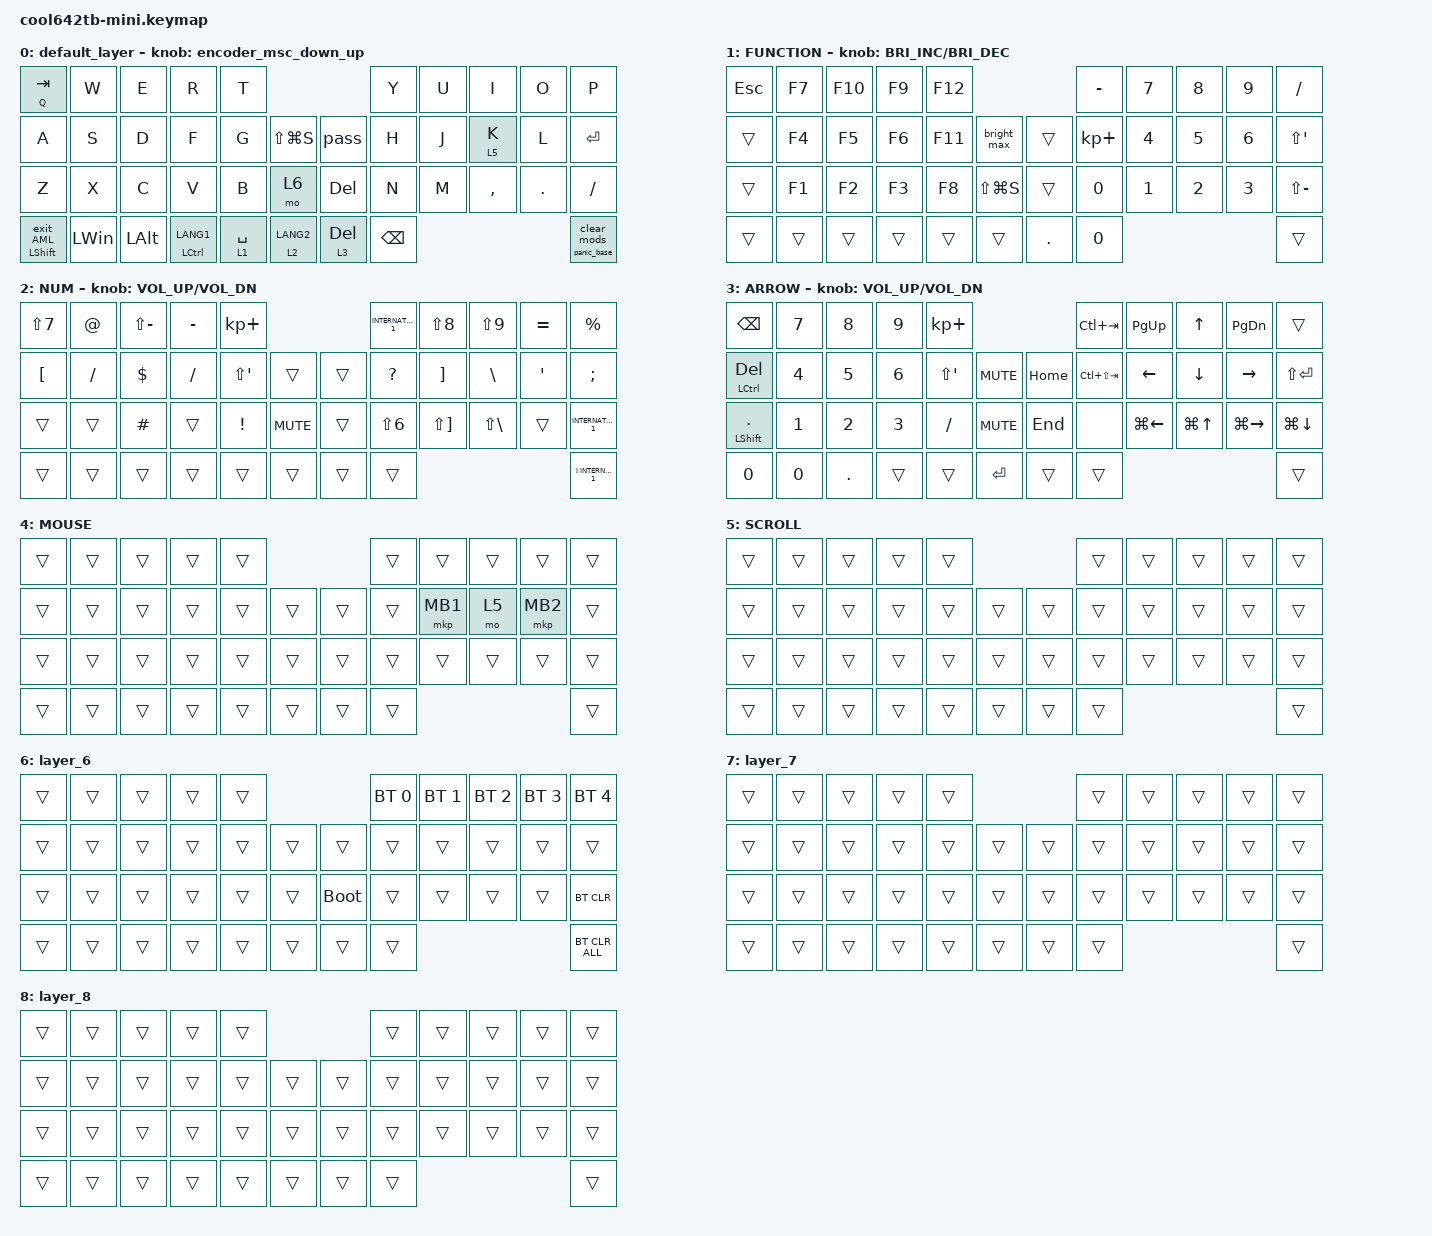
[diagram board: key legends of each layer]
#define AML 4
#define SCROLL 5
#define ZMK_POINTING_DEFAULT_SCRL_VAL 80

#include <input/processors.dtsi>
#include <behaviors.dtsi>
#include <dt-bindings/zmk/bt.h>
#include <dt-bindings/zmk/keys.h>
#include <dt-bindings/zmk/pointing.h>

&mt {
    flavor = "balanced";
    quick-tap-ms = <0>;
};

/ {
    combos {
        compatible = "zmk,combos";

        tab {
            bindings = <&kp TAB>;
            key-positions = <11 12>;
        };

        shift_tab {
            bindings = <&kp LS(TAB)>;
            key-positions = <10 11 12>;
        };

        tab2 {
            bindings = <&kp TAB>;
            key-positions = <11 10>;
        };

        double_quotation {
            bindings = <&kp DOUBLE_QUOTES>;
            key-positions = <20 21>;
        };

        eq {
            bindings = <&kp EQUAL>;
            key-positions = <24 25>;
        };

        k- {
            bindings = <&kp MINUS>;
            key-positions = <18 19>;
        };

        ques {
            bindings = <&kp QUESTION>;
            key-positions = <19 20>;
        };

        exclamation {
            bindings = <&kp EXCLAMATION>;
            key-positions = <31 32>;
        };

        atmark {
            bindings = <&kp LBKT>;
            key-positions = <8 9>;
        };

        esc {
            bindings = <&kp ESC>;
            key-positions = <0 1>;
        };

        kakko {
            bindings = <&kakko>;
            key-positions = <6 7>;
        };

        alt4 {
            bindings = <&kp LA(F4)>;
            key-positions = <0 1 2>;
        };

        return {
            bindings = <&kp LA(LEFT)>;
            key-positions = <18 19 20>;
        };

        ahead {
            bindings = <&kp LA(RIGHT)>;
            key-positions = <19 20 21>;
        };

        under_score {
            bindings = <&kp LS(INTERNATIONAL_1)>;
            key-positions = <33 32>;
        };

        esc_right {
            bindings = <&kp ESC>;
            key-positions = <18 19 20 21>;
        };

        sftz {
            bindings = <&kp LS(Z)>;
            key-positions = <22 23>;
        };

        kara {
            bindings = <&kp RS(EQUAL)>;
            key-positions = <8 7>;
        };

        shift-tab2 {
            bindings = <&kp LS(TAB)>;
            key-positions = <11 13 12>;
        };
    };

    macros {
        to_layer_0: to_layer_0 {
            compatible = "zmk,behavior-macro-one-param";
            #binding-cells = <1>;
            bindings = <&to 0 &macro_param_1to1 &kp MACRO_PLACEHOLDER>;
            label = "TO_LAYER_0";
        };

        pass: pass {
            compatible = "zmk,behavior-macro";
            #binding-cells = <0>;
            bindings = <&kp LS(M) &kp N1 &kp Q &kp A &kp Z &kp N1 &kp Q &kp A &kp Z>;
            label = "PASS";
        };

        kakko: kakko {
            compatible = "zmk,behavior-macro";
            #binding-cells = <0>;
            bindings = <&kp LS(N8) &kp LS(N9) &kp LEFT_ARROW>;
            label = "KAKKO";
        };

        exit_AML: exit_AML {
            compatible = "zmk,behavior-macro";
            wait-ms = <0>;
            tap-ms = <0>;
            #binding-cells = <0>;
            bindings = <&tog_off AML>;
            label = "EXIT_AML";
        };

        kp_exit_AML: kp_exit_AML {
            compatible = "zmk,behavior-macro-one-param";
            wait-ms = <0>;
            tap-ms = <0>;
            #binding-cells = <1>;
            bindings = <&macro_param_1to1 &kp MACRO_PLACEHOLDER &exit_AML>;
            label = "KP_EXIT_AML";
        };

        clear_mods: clear_mods {
            compatible = "zmk,behavior-macro";
            #binding-cells = <0>;
            wait-ms = <0>;
            tap-ms = <0>;
            bindings = <&kp LCTRL &kp LSHIFT &kp LALT &kp LGUI>;
            label = "CLEAR_MODS";
        };

        panic_base: panic_base {
            compatible = "zmk,behavior-macro";
            #binding-cells = <0>;
            wait-ms = <0>;
            tap-ms = <0>;
            bindings = <&to 0>;
            label = "PANIC_BASE";
        };

        //arrowlayerでのalt+tab実現

        alt_tab_hold: alt_tab_hold {
            compatible = "zmk,behavior-macro";
            #binding-cells = <0>;
            wait-ms = <0>;
            tap-ms = <0>;
            bindings =
                <&macro_press>,
                <&kp LALT>,
                <&macro_tap>,
                <&kp TAB>,
                <&macro_pause_for_release>,
                <&macro_release>,
                <&kp LALT>;

            label = "ALT_TAB_HOLD";
        };

        bright_max: bright_max {
            compatible = "zmk,behavior-macro";
            #binding-cells = <0>;
            wait-ms = <0>;
            tap-ms = <0>;
            bindings = <&kp C_BRIGHTNESS_INC &kp C_BRIGHTNESS_INC &kp C_BRIGHTNESS_INC &kp C_BRIGHTNESS_INC &kp C_BRIGHTNESS_INC &kp C_BRIGHTNESS_INC &kp C_BRIGHTNESS_INC &kp C_BRIGHTNESS_INC &kp C_BRIGHTNESS_INC &kp C_BRIGHTNESS_INC &kp C_BRIGHTNESS_INC &kp C_BRIGHTNESS_INC &kp C_BRIGHTNESS_INC &kp C_BRIGHTNESS_INC &kp C_BRIGHTNESS_INC &kp C_BRIGHTNESS_INC &kp C_BRIGHTNESS_INC &kp C_BRIGHTNESS_INC &kp C_BRIGHTNESS_INC &kp C_BRIGHTNESS_INC &kp C_BRIGHTNESS_INC &kp C_BRIGHTNESS_INC &kp C_BRIGHTNESS_INC &kp C_BRIGHTNESS_INC &kp C_BRIGHTNESS_INC &kp C_BRIGHTNESS_INC &kp C_BRIGHTNESS_INC &kp C_BRIGHTNESS_INC &kp C_BRIGHTNESS_INC &kp C_BRIGHTNESS_INC &kp C_BRIGHTNESS_INC &kp C_BRIGHTNESS_INC &kp C_BRIGHTNESS_INC &kp C_BRIGHTNESS_INC &kp C_BRIGHTNESS_INC &kp C_BRIGHTNESS_INC &kp C_BRIGHTNESS_INC &kp C_BRIGHTNESS_INC &kp C_BRIGHTNESS_INC &kp C_BRIGHTNESS_INC>;
            label = "BRIGHT_MAX";
        };
    };

    behaviors {
        lt_to_layer_0: lt_to_layer_0 {
            compatible = "zmk,behavior-hold-tap";
            label = "LAYER_TAP_TO_0";
            bindings = <&mo>, <&to_layer_0>;

            #binding-cells = <2>;
            tapping-term-ms = <200>;
        };

        encoder_msc_down_up: encoder_msc_down_up {
            compatible = "zmk,behavior-sensor-rotate";
            label = "ENCODER_MSC_DOWN_UP";
            #sensor-binding-cells = <0>;
            bindings = <&msc SCRL_UP>, <&msc SCRL_DOWN>;

            tap-ms = <20>;
        };

        tog_off: toggle_layer_off {
            compatible = "zmk,behavior-toggle-layer";
            #binding-cells = <1>;
            toggle-mode = "off";
        };

        mt_exit_AML_on_tap: mt_exit_AML_on_tap {
            compatible = "zmk,behavior-hold-tap";
            label = "MT_EXIT_AML_ON_TAP";
            bindings = <&kp>, <&kp_exit_AML>;

            #binding-cells = <2>;
            tapping-term-ms = <200>;
            flavor = "balanced";
            quick-tap-ms = <200>;
        };

        clear_on_tap_panic_on_hold: clear_on_tap_panic_on_hold {
            compatible = "zmk,behavior-hold-tap";
            label = "CLR_TAP_PANIC_HOLD";
            #binding-cells = <2>;

            /* 先がホールド、後がタップ */

            bindings = <&panic_base>, <&clear_mods>;

            tapping-term-ms = <200>;
            flavor = "balanced";
            quick-tap-ms = <0>;
        };

        mt_exit_aml_tp170: mt_exit_aml_tp170 {
            compatible = "zmk,behavior-hold-tap";
            label = "MT_EXIT_AML_TP170";
            bindings = <&kp>, <&kp_exit_AML>;

            #binding-cells = <2>;

            // これが重要！

            flavor = "balanced";

            // 判定時間を少し短くして、キビキビ動くようにします

            tapping-term-ms = <200>;

            // 連続でCtrlを使いたい時のための猶予（お好みで150〜200）

            quick-tap-ms = <175>;
        };

        mt_exit_aml_Z: mt_exit_aml_Z {
            compatible = "zmk,behavior-hold-tap";
            label = "MT_EXIT_AML_Z";
            bindings = <&kp>, <&kp_exit_AML>;

            #binding-cells = <2>;
            flavor = "tap-preferred";
            tapping-term-ms = <170>;
            quick-tap-ms = <0>;
        };

        // 新しく作る「Shift専用」の道具

        mt_shift_exit: mt_shift_exit {
            compatible = "zmk,behavior-hold-tap";
            label = "MT_SHIFT_EXIT";

            /* ホールドは引数を取る(&kp)、タップは引数を取らない(&exit_AML) */

            bindings = <&kp>, <&exit_AML>;

            #binding-cells = <2>; // ←ここを必ず「2」にする
            flavor = "tap-preferred";
            tapping-term-ms = <170>;
            quick-tap-ms = <0>;
        };
    };

    keymap {
        compatible = "zmk,keymap";

        default_layer {
            bindings = <
&mt Q TAB                    &kp W         &kp E         &kp R                           &kp T                                      &kp Y          &kp U  &kp I      &kp O    &kp P
&kp A                        &kp S         &kp D         &kp F                           &kp G        &kp LS(LG(S))      &pass      &kp H          &kp J  &lt 5 K    &kp L    &kp ENTER
&kp Z                        &kp X         &kp C         &kp V                           &kp B        &mo 6              &kp DEL    &kp N          &kp M  &kp COMMA  &kp DOT  &kp SLASH
&mt_shift_exit LEFT_SHIFT 0  &kp LEFT_WIN  &kp LEFT_ALT  &mt_exit_aml_tp170 LCTRL LANG1  &lt 1 SPACE  &lt 2 LANG2        &lt 3 DEL  &kp BACKSPACE                             &clear_on_tap_panic_on_hold 0 0
            >;

            sensor-bindings = <&encoder_msc_down_up>;
        };

        FUNCTION {
            bindings = <
&kp ESC  &kp F7  &kp F10  &kp F9  &kp F12                                 &kp MINUS    &kp N7  &kp N8  &kp N9  &kp SLASH
&trans   &kp F4  &kp F5   &kp F6  &kp F11  &bright_max        &trans      &kp KP_PLUS  &kp N4  &kp N5  &kp N6  &kp LS(APOS)
&trans   &kp F1  &kp F2   &kp F3  &kp F8   &kp LS(LG(S))      &trans      &kp N0       &kp N1  &kp N2  &kp N3  &kp LS(MINUS)
&trans   &trans  &trans   &trans  &trans   &trans             &kp PERIOD  &kp N0                               &trans
            >;

            sensor-bindings = <&inc_dec_kp C_BRIGHTNESS_INC C_BRIGHTNESS_DEC>;
        };

        NUM {
            bindings = <
&kp LS(N7)  &kp AT     &kp LS(MINUS)  &kp MINUS  &kp KP_PLUS                          &kp INTERNATIONAL_1  &kp LS(NUMBER_8)  &kp LS(N9)         &kp EQUAL  &kp PERCENT
&kp LBKT    &kp SLASH  &kp DOLLAR     &kp SLASH  &kp LS(SQT)  &trans          &trans  &kp QUESTION         &kp RBKT          &kp BACKSLASH      &kp SQT    &kp SEMICOLON
&trans      &trans     &kp HASH       &trans     &kp EXCL     &kp C_MUTE      &trans  &kp LS(N6)           &kp LS(RBKT)      &kp LS(BACKSLASH)  &trans     &kp INTERNATIONAL_1
&trans      &trans     &trans         &trans     &trans       &trans          &trans  &trans                                                               &kp LS(INTERNATIONAL_1)
            >;

            sensor-bindings = <&inc_dec_kp C_VOL_UP C_VOL_DN>;
        };

        ARROW {
            bindings = <
&kp BACKSPACE            &kp N7        &kp N8        &kp N9        &kp KP_PLUS                            &kp LC(TAB)      &kp PAGE_UP     &kp UP_ARROW      &kp PAGE_DOWN  &trans
&mt LEFT_CONTROL DELETE  &kp NUMBER_4  &kp N5        &kp NUMBER_6  &kp LS(SQT)  &kp C_MUTE      &kp HOME  &kp LC(LS(TAB))  &kp LEFT_ARROW  &kp DOWN_ARROW    &kp RIGHT      &kp LS(ENTER)
&mt LEFT_SHIFT PERIOD    &kp NUMBER_1  &kp NUMBER_2  &kp N3        &kp SLASH    &kp C_MUTE      &kp END   &none            &kp LG(LEFT)    &kp LG(UP_ARROW)  &kp LG(RIGHT)  &kp LG(DOWN_ARROW)
&kp N0                   &kp N0        &kp DOT       &trans        &trans       &kp ENTER       &trans    &trans                                                            &trans
            >;

            sensor-bindings = <&inc_dec_kp C_VOL_UP C_VOL_DN>;
        };

        MOUSE {
            bindings = <
&trans  &trans  &trans  &trans  &trans                      &trans  &trans    &trans  &trans    &trans
&trans  &trans  &trans  &trans  &trans  &trans      &trans  &trans  &mkp MB1  &mo 5   &mkp MB2  &trans
&trans  &trans  &trans  &trans  &trans  &trans      &trans  &trans  &trans    &trans  &trans    &trans
&trans  &trans  &trans  &trans  &trans  &trans      &trans  &trans                              &trans
            >;
        };

        SCROLL {
            bindings = <
&trans  &trans  &trans  &trans  &trans                      &trans  &trans  &trans  &trans  &trans
&trans  &trans  &trans  &trans  &trans  &trans      &trans  &trans  &trans  &trans  &trans  &trans
&trans  &trans  &trans  &trans  &trans  &trans      &trans  &trans  &trans  &trans  &trans  &trans
&trans  &trans  &trans  &trans  &trans  &trans      &trans  &trans                          &trans
            >;
        };

        layer_6 {
            bindings = <
&trans  &trans  &trans  &trans  &trans                           &bt BT_SEL 0  &bt BT_SEL 1  &bt BT_SEL 2  &bt BT_SEL 3  &bt BT_SEL 4
&trans  &trans  &trans  &trans  &trans  &trans      &trans       &trans        &trans        &trans        &trans        &trans
&trans  &trans  &trans  &trans  &trans  &trans      &bootloader  &trans        &trans        &trans        &trans        &bt BT_CLR
&trans  &trans  &trans  &trans  &trans  &trans      &trans       &trans                                                  &bt BT_CLR_ALL
            >;
        };

        layer_7 {
            bindings = <
&trans  &trans  &trans  &trans  &trans                      &trans  &trans  &trans  &trans  &trans
&trans  &trans  &trans  &trans  &trans  &trans      &trans  &trans  &trans  &trans  &trans  &trans
&trans  &trans  &trans  &trans  &trans  &trans      &trans  &trans  &trans  &trans  &trans  &trans
&trans  &trans  &trans  &trans  &trans  &trans      &trans  &trans                          &trans
            >;
        };

        layer_8 {
            bindings = <
&trans  &trans  &trans  &trans  &trans                      &trans  &trans  &trans  &trans  &trans
&trans  &trans  &trans  &trans  &trans  &trans      &trans  &trans  &trans  &trans  &trans  &trans
&trans  &trans  &trans  &trans  &trans  &trans      &trans  &trans  &trans  &trans  &trans  &trans
&trans  &trans  &trans  &trans  &trans  &trans      &trans  &trans                          &trans
            >;
        };
    };
};

&mkp_input_listener { input-processors = <&zip_temp_layer 4 10000>; };
